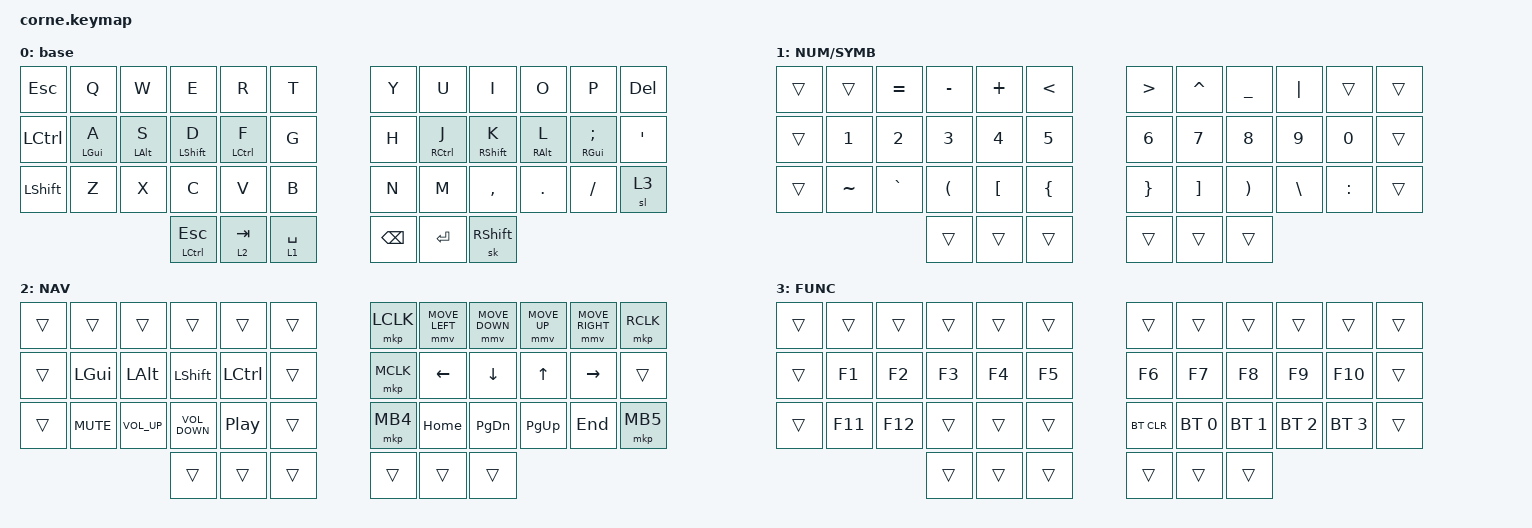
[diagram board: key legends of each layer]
/*
 * Copyright (c) 2020 The ZMK Contributors
 *
 * SPDX-License-Identifier: MIT
 */
/* Mouse / pointing speed overrides */

#define ZMK_POINTING_DEFAULT_MOVE_VAL 1200
#define ZMK_POINTING_DEFAULT_SCRL_VAL 25

#include <behaviors.dtsi>
#include <dt-bindings/zmk/bt.h>
#include <dt-bindings/zmk/keys.h>
#include <dt-bindings/zmk/pointing.h>

/ {
    behaviors {
        HML: HML {
            compatible = "zmk,behavior-hold-tap";
            label = "HML";
            bindings = <&kp>, <&kp>;

            #binding-cells = <2>;
            tapping-term-ms = <200>;
            quick-tap-ms = <175>;
            flavor = "tap-preferred";
            hold-trigger-on-release;
            hold-trigger-key-positions = <1 0 2 3 4 5 17 16 15 14 13 12 25 24 27 26 28 29 36 37 38>;
        };

        HMR: HMR {
            compatible = "zmk,behavior-hold-tap";
            label = "HMR";
            bindings = <&kp>, <&kp>;

            #binding-cells = <2>;
            tapping-term-ms = <200>;
            quick-tap-ms = <175>;
            hold-trigger-key-positions = <6 7 8 9 10 11 23 22 21 20 19 18 30 31 32 33 34 35 41 40 39>;
            flavor = "tap-preferred";
            hold-trigger-on-release;
        };
    };

    keymap {
        compatible = "zmk,keymap";

        base {
            // display-name = "BASE";  // Commented out to hide on base layer for cleaner display
            // -----------------------------------------------------------------------------------------
            // |  TAB |  Q  |  W  |  E  |  R  |  T  |   |  Y  |  U   |  I  |  O  |  P  | BSPC |
            // | CTRL |  A  |  S  |  D  |  F  |  G  |   |  H  |  J   |  K  |  L  |  ;  |  '   |
            // | SHFT |  Z  |  X  |  C  |  V  |  B  |   |  N  |  M   |  ,  |  .  |  /  | ESC  |
            //                    | GUI | LWR | SPC |   | ENT | RSE  | ALT |

            bindings = <
&kp ESCAPE  &kp Q            &kp W            &kp E                    &kp R         &kp T          &kp Y          &kp U         &kp I               &kp O             &kp P                &kp DEL
&kp LCTRL   &HML LEFT_GUI A  &HML LEFT_ALT S  &HML LEFT_SHIFT D        &HML LCTRL F  &kp G          &kp H          &HMR RCTRL J  &HMR RIGHT_SHIFT K  &HMR RIGHT_ALT L  &HMR RIGHT_GUI SEMI  &kp SQT
&kp LSHFT   &kp Z            &kp X            &kp C                    &kp V         &kp B          &kp N          &kp M         &kp COMMA           &kp DOT           &kp FSLH             &sl 3
                                              &mt LEFT_CONTROL ESCAPE  &lt 2 TAB     &lt 1 SPACE    &kp BACKSPACE  &kp ENTER     &sk RIGHT_SHIFT
            >;
        };

        symb_num {
            display-name = "NUM/SYMB";
            bindings = <
&trans  &trans     &kp EQUAL  &kp MINUS             &kp PLUS          &kp LESS_THAN     &kp GREATER_THAN  &kp CARET          &kp UNDER              &kp PIPE       &trans     &trans
&trans  &kp N1     &kp N2     &kp N3                &kp N4            &kp N5            &kp N6            &kp N7             &kp N8                 &kp N9         &kp N0     &trans
&trans  &kp TILDE  &kp GRAVE  &kp LEFT_PARENTHESIS  &kp LEFT_BRACKET  &kp LEFT_BRACE    &kp RIGHT_BRACE   &kp RIGHT_BRACKET  &kp RIGHT_PARENTHESIS  &kp BACKSLASH  &kp COLON  &trans
                              &trans                &trans            &trans            &trans            &trans             &trans
            >;
        };

        nav_kbutils {
            display-name = "NAV";
            bindings = <
&trans  &trans        &trans           &trans             &trans            &trans    &mkp LCLK  &mmv MOVE_LEFT  &mmv MOVE_DOWN  &mmv MOVE_UP  &mmv MOVE_RIGHT  &mkp RCLK
&trans  &kp LEFT_GUI  &kp LEFT_ALT     &kp LEFT_SHIFT     &kp LEFT_CONTROL  &trans    &mkp MCLK  &kp LEFT_ARROW  &kp DOWN_ARROW  &kp UP_ARROW  &kp RIGHT_ARROW  &trans
&trans  &kp C_MUTE    &kp C_VOLUME_UP  &kp C_VOLUME_DOWN  &kp C_PLAY_PAUSE  &trans    &mkp MB4   &kp HOME        &kp PAGE_DOWN   &kp PAGE_UP   &kp END          &mkp MB5
                                       &trans             &trans            &trans    &trans     &trans          &trans
            >;
        };

        func_bt {
            display-name = "FUNC";
            // -----------------------------------------------------------------------------------------
            // |  TAB |  1  |  2  |  3  |  4  |  5  |   |  6  |  7  |  8  |  9  |  0  | BSPC |
            // | BTCLR| BT1 | BT2 | BT3 | BT4 | BT5 |   | LFT | DWN |  UP | RGT |     |      |
            // | SHFT |     |     |     |     |     |   |     |     |     |     |     |      |
            //                    | GUI |     | SPC |   | ENT |     | ALT |

            bindings = <
&trans  &trans   &trans   &trans  &trans  &trans    &trans      &trans        &trans        &trans        &trans        &trans
&trans  &kp F1   &kp F2   &kp F3  &kp F4  &kp F5    &kp F6      &kp F7        &kp F8        &kp F9        &kp F10       &trans
&trans  &kp F11  &kp F12  &trans  &trans  &trans    &bt BT_CLR  &bt BT_SEL 0  &bt BT_SEL 1  &bt BT_SEL 2  &bt BT_SEL 3  &trans
                          &trans  &trans  &trans    &trans      &trans        &trans
            >;
        };
    };
};
